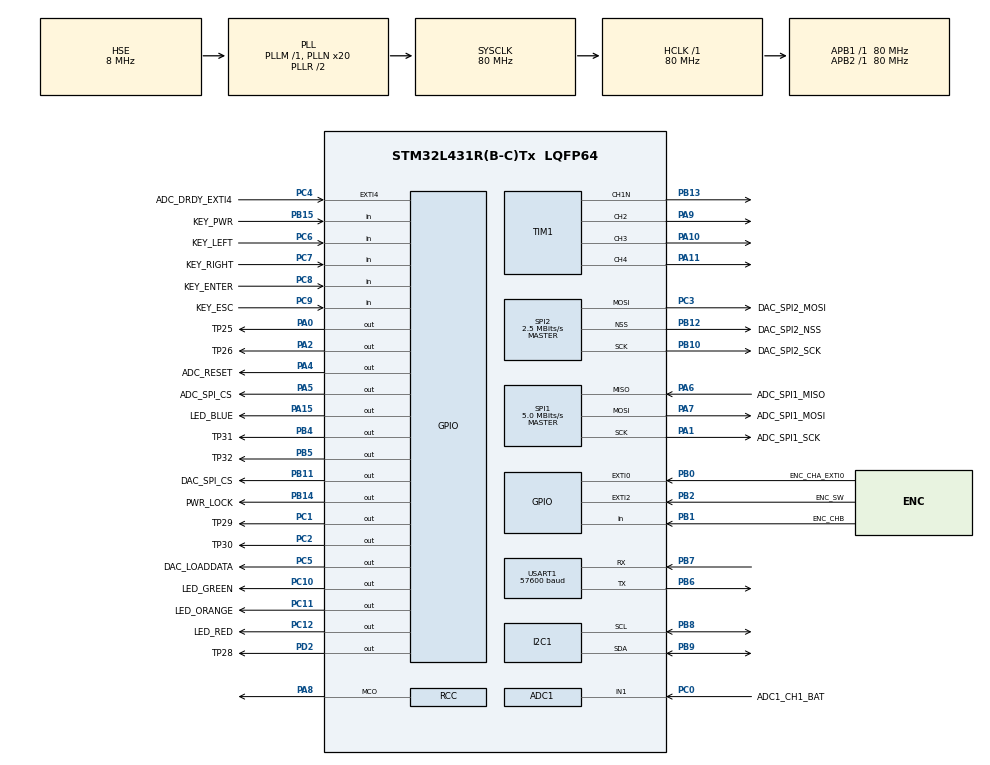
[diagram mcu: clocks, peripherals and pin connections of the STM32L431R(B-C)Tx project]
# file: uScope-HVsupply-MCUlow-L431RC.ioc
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Dma.SPI1_TX.1.Priority=DMA_PRIORITY_LOW
SH.S_TIM1_CH4.0=TIM1_CH4,PWM Generation4 CH4
NVIC.I2C1_EV_IRQn=true\:0\:0\:false\:false\:true\:true\:true
SPI1.VirtualType=VM_MASTER
SPI2.VirtualType=VM_MASTER
PB10.Mode=TX_Only_Simplex_Unidirect_Master
NVIC.TIM6_DAC_IRQn=true\:0\:0\:false\:false\:true\:true\:true
PC12.Signal=GPIO_Output
I2C1.I2C_Rise_Time=50
PB14.GPIO_Label=PWR_LOCK
USART1.WordLength=WORDLENGTH_9B
PC6.GPIO_Label=KEY_LEFT
PA6.GPIO_Label=ADC_SPI1_MISO
PA15\ (JTDI).Signal=GPIO_Output
PC15-OSC32_OUT\ (PC15).Mode=LSE-External-Oscillator
PB13.Signal=TIM1_CH1N
RCC.SYSCLKSource=RCC_SYSCLKSOURCE_PLLCLK
PC14-OSC32_IN\ (PC14).Mode=LSE-External-Oscillator
NVIC.DMA1_Channel3_IRQn=true\:0\:0\:false\:false\:true\:false\:true
PA14\ (JTCK-SWCLK).Signal=SYS_JTCK-SWCLK
NVIC.ADC1_IRQn=true\:0\:0\:false\:false\:true\:true\:true
Dma.SPI1_RX.0.Direction=DMA_PERIPH_TO_MEMORY
SPI1.Direction=SPI_DIRECTION_2LINES
RCC.APB2TimFreq_Value=80000000
PB6.Signal=USART1_TX
PC7.Signal=GPIO_Input
PB6.Mode=Asynchronous
SPI1.CalculateBaudRate=5.0 MBits/s
PC3.Signal=SPI2_MOSI
Dma.SPI1_TX.1.PeriphDataAlignment=DMA_PDATAALIGN_BYTE
PB2.Signal=GPXTI2
PB12.GPIO_Label=DAC_SPI2_NSS
Dma.SPI1_RX.0.PeriphInc=DMA_PINC_DISABLE
PC4.GPIO_Label=ADC_DRDY_EXTI4
Dma.SPI1_TX.1.Mode=DMA_NORMAL
USART1.OverrunDisableParam=ADVFEATURE_OVERRUN_DISABLE
PB1.GPIO_Label=ENC_CHB
SPI1.DataSize=SPI_DATASIZE_8BIT
SPI2.CalculateBaudRate=2.5 MBits/s
PA8.Signal=RCC_MCO
NVIC.I2C1_ER_IRQn=true\:0\:0\:false\:false\:true\:true\:true
VP_TIM1_VS_ClockSourceINT.Mode=Internal
ADC1.SamplingTime-0\#ChannelRegularConversion=ADC_SAMPLETIME_640CYCLES_5
PA0.Signal=GPIO_Output
Mcu.Package=LQFP64
PB9.Signal=I2C1_SDA
PB1.Signal=GPIO_Input
SPI2.Mode=SPI_MODE_MASTER
PA10.Signal=S_TIM1_CH3
NVIC.EXTI2_IRQn=true\:0\:0\:false\:false\:true\:true\:true
RCC.APB1TimFreq_Value=80000000
PB13.Mode=PWM Generation1 CH1N
PA13\ (JTMS-SWDIO).Signal=SYS_JTMS-SWDIO
NVIC.USART1_IRQn=true\:0\:0\:false\:false\:true\:true\:true
PH0-OSC_IN\ (PH0).Mode=HSE-External-Oscillator
PA4.GPIO_Label=ADC_RESET
Dma.SPI1_TX.1.Instance=DMA1_Channel3
RCC.HSI48_VALUE=48000000
NVIC.EXTI4_IRQn=true\:0\:0\:false\:false\:true\:true\:true
PC4.GPIO_ModeDefaultEXTI=GPIO_MODE_IT_FALLING
ADC1.Rank-0\#ChannelRegularConversion=1
I2C1.I2C_Fall_Time=50
ADC1.OffsetNumber-0\#ChannelRegularConversion=ADC_OFFSET_NONE
PC6.Signal=GPIO_Input
PC2.Signal=GPIO_Output
PB11.GPIO_Label=DAC_SPI_CS
SPI1.CLKPhase=SPI_PHASE_2EDGE
PC0.Signal=ADCx_IN1
Dma.SPI1_TX.1.MemDataAlignment=DMA_MDATAALIGN_BYTE
PA9.Signal=S_TIM1_CH2
TIM1.Channel-PWM\ Generation2\ CH2=TIM_CHANNEL_2
I2C1.Timing=0x10B09CE8
PB10.Signal=SPI2_SCK
PB14.Signal=GPIO_Output
PA5.Signal=GPIO_Output
NVIC.SPI1_IRQn=true\:0\:0\:false\:false\:true\:true\:true
PA1.Mode=Full_Duplex_Master
PB15.GPIO_Label=KEY_PWR
SPI1.Mode=SPI_MODE_MASTER
PA1.GPIO_Label=ADC_SPI1_SCK
Dma.SPI1_RX.0.PeriphDataAlignment=DMA_PDATAALIGN_BYTE
PC7.GPIO_Label=KEY_RIGHT
PA4.Signal=GPIO_Output
PB5.Signal=GPIO_Output
ADC1.master=1
PA5.GPIO_Label=ADC_SPI_CS
PC12.GPIO_Label=LED_RED
PA11.Signal=S_TIM1_CH4
ProjectManager.HeapSize=0x200
Dma.SPI1_RX.0.Priority=DMA_PRIORITY_LOW
NVIC.PriorityGroup=NVIC_PRIORITYGROUP_4
PB8.Mode=I2C
PC3.GPIO_Label=DAC_SPI2_MOSI
PA8.Mode=Clock-out
SPI2.DataSize=SPI_DATASIZE_8BIT
PB4\ (NJTRST).GPIO_Label=TP31
TIM1.Channel-PWM\ Generation3\ CH3=TIM_CHANNEL_3
PD2.Signal=GPIO_Output
PB0.Signal=GPXTI0
PC1.Signal=GPIO_Output
PD2.GPIO_Label=TP28
Mcu.Family=STM32L4
PC3.Mode=TX_Only_Simplex_Unidirect_Master
PA6.Mode=Full_Duplex_Master
SPI2.VirtualNSS=VM_NSSHARD
RCC.CortexFreq_Value=80000000
PH0-OSC_IN\ (PH0).Signal=RCC_OSC_IN
USART1.BaudRate=57600
PC10.Signal=GPIO_Output
PA0.GPIO_Label=TP25
Dma.SPI1_TX.1.PeriphInc=DMA_PINC_DISABLE
PC0.GPIO_Label=ADC1_CH1_BAT
PB0.GPIO_Label=ENC_CHA_EXTI0
PB11.Signal=GPIO_Output
PB15.Signal=GPIO_Input
ProjectManager.StackSize=0x400
PB3\ (JTDO-TRACESWO).Signal=SYS_JTDO-SWO
PB2.GPIO_ModeDefaultEXTI=GPIO_MODE_IT_RISING_FALLING
TIM1.Channel-PWM\ Generation4\ CH4=TIM_CHANNEL_4
RCC.HCLKFreq_Value=80000000
RCC.AHBFreq_Value=80000000
SPI2.BaudRatePrescaler=SPI_BAUDRATEPRESCALER_32
ADC1.Channel-0\#ChannelRegularConversion=ADC_CHANNEL_1
PH1-OSC_OUT\ (PH1).Mode=HSE-External-Oscillator
RCC.HSE_VALUE=8000000
RCC.RCC_MCO1Source=RCC_MCO1SOURCE_HSE
PC11.GPIO_Label=LED_ORANGE
PB7.Signal=USART1_RX
TIM1.Channel-PWM\ Generation1\ CH1N=TIM_CHANNEL_1
TIM6.Period=10000
PA6.Signal=SPI1_MISO
PB12.Mode=NSS_Signal_Hard_Output
PA2.GPIO_Label=TP26
SH.ADCx_IN1.0=ADC1_IN1,IN1-Single-Ended
PB5.GPIO_Label=TP32
Dma.Request1=SPI1_TX
SPI2.Direction=SPI_DIRECTION_2LINES
PC5.Signal=GPIO_Output
Dma.Request0=SPI1_RX
SPI1.BaudRatePrescaler=SPI_BAUDRATEPRESCALER_16
PC2.GPIO_Label=TP30
RCC.MSIClockRange=RCC_MSIRANGE_8
RCC.MSI_VALUE=16000000
RCC.PLLSourceVirtual=RCC_PLLSOURCE_HSE
Dma.SPI1_TX.1.MemInc=DMA_MINC_ENABLE
PA7.Mode=Full_Duplex_Master
PC10.GPIO_Label=LED_GREEN
PC9.GPIO_Label=KEY_ESC
USART1.RxPinLevelInvertParam=ADVFEATURE_RXINV_ENABLE
PC11.Signal=GPIO_Output
PC8.Signal=GPIO_Input
TIM6.Prescaler=80
PC4.Signal=GPXTI4
VP_TIM6_VS_ClockSourceINT.Mode=Enable_Timer
PC15-OSC32_OUT\ (PC15).Signal=RCC_OSC32_OUT
Dma.SPI1_RX.0.Mode=DMA_NORMAL
Dma.SPI1_TX.1.Direction=DMA_MEMORY_TO_PERIPH
PH1-OSC_OUT\ (PH1).Signal=RCC_OSC_OUT
PC8.GPIO_Label=KEY_ENTER
USART1.VirtualMode-Asynchronous=VM_ASYNC
NVIC.DMA1_Channel2_IRQn=true\:0\:0\:false\:false\:true\:false\:true
ProjectManager.TargetToolchain=STM32CubeIDE
PB10.GPIO_Label=DAC_SPI2_SCK
PB9.Mode=I2C
USART1.Parity=PARITY_EVEN
PA1.Signal=SPI1_SCK
board=custom
RCC.VCOOutputFreq_Value=160000000
RCC.APB2Freq_Value=80000000
SH.S_TIM1_CH2.0=TIM1_CH2,PWM Generation2 CH2
Dma.SPI1_RX.0.Instance=DMA1_Channel2
RCC.ADCFreq_Value=32000000
PC1.GPIO_Label=TP29
Dma.SPI1_RX.0.MemDataAlignment=DMA_MDATAALIGN_BYTE
PA15\ (JTDI).GPIO_Label=LED_BLUE
Mcu.Name=STM32L431R(B-C)Tx
Dma.SPI1_RX.0.MemInc=DMA_MINC_ENABLE
PA2.Signal=GPIO_Output
NVIC.EXTI0_IRQn=true\:0\:0\:false\:false\:true\:true\:true
RCC.SYSCLKFreq_VALUE=80000000
PA7.GPIO_Label=ADC_SPI1_MOSI
PC5.GPIO_Label=DAC_LOADDATA
PC14-OSC32_IN\ (PC14).Signal=RCC_OSC32_IN
PB7.Mode=Asynchronous
PB2.GPIO_Label=ENC_SW
SH.S_TIM1_CH3.0=TIM1_CH3,PWM Generation3 CH3
RCC.HSI_VALUE=16000000
ADC1.NbrOfConversionFlag=1
RCC.PLLN=20
PB8.Signal=I2C1_SCL
PC9.Signal=GPIO_Input
RCC.APB1Freq_Value=80000000
ADC1.ClockPrescaler=ADC_CLOCK_ASYNC_DIV128
SPI2.TIMode=SPI_TIMODE_ENABLE
PB12.Signal=SPI2_NSS
PA7.Signal=SPI1_MOSI
PB4\ (NJTRST).Signal=GPIO_Output

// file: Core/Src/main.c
/* USER CODE BEGIN Header */
/**
  ******************************************************************************
  * @file           : main.c
  * @brief          : Main program body
  ******************************************************************************
  * @attention
  *
  * <h2><center>&copy; Copyright (c) 2020 STMicroelectronics.
  * All rights reserved.</center></h2>
  *
  * This software component is licensed by ST under BSD 3-Clause license,
  * the "License"; You may not use this file except in compliance with the
  * License. You may obtain a copy of the License at:
  *                        opensource.org/licenses/BSD-3-Clause
  *
  ******************************************************************************
  */
/* USER CODE END Header */
#include "main.h"

/* USER CODE BEGIN Includes */
#include <math.h>
#include "communication.h"
#include "hd44780_i2c.h"
#include "init.h"
#include "regulator.h"
#include "typedefs.h"
#include "ui.h"
#include "utilities.h"
/* USER CODE END Includes */

/* USER CODE BEGIN PM */

/* this write function is used by printf() and puts(). Must provide own implementation
 * https://electronics.stackexchange.com/questions/206113/how-do-i-use-the-printf-function-on-stm32/279945#279945 */
//int _write(int file, char *ptr, int len) {
//	for(int i=0; i<len; i++) {
//		ITM_SendChar((*ptr++));
//	}
//	return len;
//}
//int __io_putchar(int ch) {
//	ITM_SendChar( (char)ch );
//	return ch;
//}
void _putchar(char ch)
{
	ITM_SendChar( ch );
}

/* USER CODE END PM */

ADC_HandleTypeDef hadc1;

I2C_HandleTypeDef hi2c1;

SPI_HandleTypeDef hspi1;
SPI_HandleTypeDef hspi2;
DMA_HandleTypeDef hdma_spi1_rx;
DMA_HandleTypeDef hdma_spi1_tx;

TIM_HandleTypeDef htim1;
TIM_HandleTypeDef htim6;

UART_HandleTypeDef huart1;

/* USER CODE BEGIN PV */

struct sSystem System;

/* USER CODE END PV */

void SystemClock_Config(void);
static void MX_GPIO_Init(void);
static void MX_DMA_Init(void);
static void MX_I2C1_Init(void);
static void MX_SPI1_Init(void);
static void MX_SPI2_Init(void);
static void MX_TIM1_Init(void);
static void MX_USART1_UART_Init(void);
static void MX_ADC1_Init(void);
static void MX_TIM6_Init(void);
/* USER CODE BEGIN PFP */
static inline void power12Von (void)
{
	SPAM(("%s\n", __func__));
	ledOrange(ON);
	HAL_GPIO_WritePinHigh(TP32_GPIO_Port, TP32_Pin);
}

static inline void power12Voff (void)
{
	SPAM(("%s\n", __func__));
	ledOrange(OFF);
	HAL_GPIO_WritePinLow(TP32_GPIO_Port, TP32_Pin);
}
/* USER CODE END PFP */

int main(void)
{
  /* USER CODE BEGIN 1 */

	/* TODO
	 * WiP:
	 * - co by tu zrobic, zeby poprawic metrologicznosc i stabilnosc. Zeby regulatory byly zawsze stabilne.
	 * 		Najpierw bym przyspieszyl ADS i ogarnal przesyl po przerwaniach albo DMA. Wtedy mozna dluzsze filtry MovAvg.
	 * 		Wtedy trzeba by dostroic regulatory. Ale bardziej zautomatyzowac to trzbea. Hm dalo by sie..
	 * 		Ta funkcja osc dobrze mierzy okres, niech tylko jeszcze mierzy amplitude i bedzie mogla wykrywac
	 * 		prog oscylacji i sama wyliczyc wspolczynniki do PID.
	 * 		Odpowiedzi na skok tez trzeba by sprawdzic.
	 *
	 * bugs:
	 * - voltage formating: always preserve place for sign (- for negative and space for positive).
	 * 		Align right, not left. At best, align to the decimal point in fixed place.
	 * - add -5 V independent charge pump
	 *
	 * features:
	 * -
	 * - add buzzer to warn about HV voltage
	 * - save & restore last setted values (flash reading & saving at power on/off)
	 * - on ESC hold in main screen, load default settings and reset settings memory
	 * 		(in case something will get corrupted and settings stuck in pernament error)
	 * - option to set PID regulator coeffs by UI. Or maybe even auto tuning..
	 */

  /* USER CODE END 1 */

  /* MCU Configuration--------------------------------------------------------*/

  /* Reset of all peripherals, Initializes the Flash interface and the Systick. */
  HAL_Init();

  /* Configure the system clock */
  SystemClock_Config();

  /* USER CODE BEGIN SysInit */
#ifdef MCU_HIGH
  SPAM(("MCU_HIGH - Hello world\n"));
#else
  SPAM(("MCU_LOW - Hello world\n"));
#endif
  /* USER CODE END SysInit */

  /* Initialize all configured peripherals */
  MX_GPIO_Init();
  MX_DMA_Init();
  MX_I2C1_Init();
  MX_SPI1_Init();
  MX_SPI2_Init();
  MX_TIM1_Init();
  MX_USART1_UART_Init();
  MX_ADC1_Init();
  MX_TIM6_Init();
  /* USER CODE BEGIN 2 */
  HAL_NVIC_DisableIRQ(EXTI4_IRQn);
  init_user();

  /* USER CODE END 2 */

  /* Infinite loop */
  while (1)
  {

    /* USER CODE BEGIN 3 */
#ifdef MCU_HIGH
	  if (System.ads.error)
	  {
		  InitADC();
	  }
#else
	keyboardRoutine();

	uiScreenUpdate();

	if (System.battVolt < 3.0f)
	{
		System.bLowBatt = true;
		uiScreenChange(SCREEN_LOWBATT);
		HAL_Delay(1000);
		highSideShutdown();
		powerLockOff();
		while(0xDEADBABE);
	}

	if (System.ads.error)
	{
		InitADC();
	}
#endif // MCU_HIGH
  }
  /* USER CODE END 3 */
}

void SystemClock_Config(void)
{
  RCC_OscInitTypeDef RCC_OscInitStruct = {0};
  RCC_ClkInitTypeDef RCC_ClkInitStruct = {0};
  RCC_PeriphCLKInitTypeDef PeriphClkInit = {0};

  /** Initializes the RCC Oscillators according to the specified parameters
  * in the RCC_OscInitTypeDef structure.
  */
  RCC_OscInitStruct.OscillatorType = RCC_OSCILLATORTYPE_HSE;
  RCC_OscInitStruct.HSEState = RCC_HSE_ON;
  RCC_OscInitStruct.PLL.PLLState = RCC_PLL_ON;
  RCC_OscInitStruct.PLL.PLLSource = RCC_PLLSOURCE_HSE;
  RCC_OscInitStruct.PLL.PLLM = 1;
  RCC_OscInitStruct.PLL.PLLN = 20;
  RCC_OscInitStruct.PLL.PLLP = RCC_PLLP_DIV7;
  RCC_OscInitStruct.PLL.PLLQ = RCC_PLLQ_DIV2;
  RCC_OscInitStruct.PLL.PLLR = RCC_PLLR_DIV2;
  if (HAL_RCC_OscConfig(&RCC_OscInitStruct) != HAL_OK)
  {
    Error_Handler();
  }
  /** Initializes the CPU, AHB and APB buses clocks
  */
  RCC_ClkInitStruct.ClockType = RCC_CLOCKTYPE_HCLK|RCC_CLOCKTYPE_SYSCLK
                              |RCC_CLOCKTYPE_PCLK1|RCC_CLOCKTYPE_PCLK2;
  RCC_ClkInitStruct.SYSCLKSource = RCC_SYSCLKSOURCE_PLLCLK;
  RCC_ClkInitStruct.AHBCLKDivider = RCC_SYSCLK_DIV1;
  RCC_ClkInitStruct.APB1CLKDivider = RCC_HCLK_DIV1;
  RCC_ClkInitStruct.APB2CLKDivider = RCC_HCLK_DIV1;

  if (HAL_RCC_ClockConfig(&RCC_ClkInitStruct, FLASH_LATENCY_4) != HAL_OK)
  {
    Error_Handler();
  }
  PeriphClkInit.PeriphClockSelection = RCC_PERIPHCLK_USART1|RCC_PERIPHCLK_I2C1
                              |RCC_PERIPHCLK_ADC;
  PeriphClkInit.Usart1ClockSelection = RCC_USART1CLKSOURCE_PCLK2;
  PeriphClkInit.I2c1ClockSelection = RCC_I2C1CLKSOURCE_PCLK1;
  PeriphClkInit.AdcClockSelection = RCC_ADCCLKSOURCE_PLLSAI1;
  PeriphClkInit.PLLSAI1.PLLSAI1Source = RCC_PLLSOURCE_HSE;
  PeriphClkInit.PLLSAI1.PLLSAI1M = 1;
  PeriphClkInit.PLLSAI1.PLLSAI1N = 8;
  PeriphClkInit.PLLSAI1.PLLSAI1P = RCC_PLLP_DIV7;
  PeriphClkInit.PLLSAI1.PLLSAI1Q = RCC_PLLQ_DIV2;
  PeriphClkInit.PLLSAI1.PLLSAI1R = RCC_PLLR_DIV2;
  PeriphClkInit.PLLSAI1.PLLSAI1ClockOut = RCC_PLLSAI1_ADC1CLK;
  if (HAL_RCCEx_PeriphCLKConfig(&PeriphClkInit) != HAL_OK)
  {
    Error_Handler();
  }
  HAL_RCC_MCOConfig(RCC_MCO1, RCC_MCO1SOURCE_HSE, RCC_MCODIV_1);
  /** Configure the main internal regulator output voltage
  */
  if (HAL_PWREx_ControlVoltageScaling(PWR_REGULATOR_VOLTAGE_SCALE1) != HAL_OK)
  {
    Error_Handler();
  }
}

static void MX_ADC1_Init(void)
{

  ADC_ChannelConfTypeDef sConfig = {0};

  /** Common config
  */
  hadc1.Instance = ADC1;
  hadc1.Init.ClockPrescaler = ADC_CLOCK_ASYNC_DIV128;
  hadc1.Init.Resolution = ADC_RESOLUTION_12B;
  hadc1.Init.DataAlign = ADC_DATAALIGN_RIGHT;
  hadc1.Init.ScanConvMode = ADC_SCAN_DISABLE;
  hadc1.Init.EOCSelection = ADC_EOC_SINGLE_CONV;
  hadc1.Init.LowPowerAutoWait = DISABLE;
  hadc1.Init.ContinuousConvMode = DISABLE;
  hadc1.Init.NbrOfConversion = 1;
  hadc1.Init.DiscontinuousConvMode = DISABLE;
  hadc1.Init.ExternalTrigConv = ADC_SOFTWARE_START;
  hadc1.Init.ExternalTrigConvEdge = ADC_EXTERNALTRIGCONVEDGE_NONE;
  hadc1.Init.DMAContinuousRequests = DISABLE;
  hadc1.Init.Overrun = ADC_OVR_DATA_PRESERVED;
  hadc1.Init.OversamplingMode = DISABLE;
  if (HAL_ADC_Init(&hadc1) != HAL_OK)
  {
    Error_Handler();
  }
  /** Configure Regular Channel
  */
  sConfig.Channel = ADC_CHANNEL_1;
  sConfig.Rank = ADC_REGULAR_RANK_1;
  sConfig.SamplingTime = ADC_SAMPLETIME_640CYCLES_5;
  sConfig.SingleDiff = ADC_SINGLE_ENDED;
  sConfig.OffsetNumber = ADC_OFFSET_NONE;
  sConfig.Offset = 0;
  if (HAL_ADC_ConfigChannel(&hadc1, &sConfig) != HAL_OK)
  {
    Error_Handler();
  }

}

static void MX_I2C1_Init(void)
{

  hi2c1.Instance = I2C1;
  hi2c1.Init.Timing = 0x10B09CE8;
  hi2c1.Init.OwnAddress1 = 0;
  hi2c1.Init.AddressingMode = I2C_ADDRESSINGMODE_7BIT;
  hi2c1.Init.DualAddressMode = I2C_DUALADDRESS_DISABLE;
  hi2c1.Init.OwnAddress2 = 0;
  hi2c1.Init.OwnAddress2Masks = I2C_OA2_NOMASK;
  hi2c1.Init.GeneralCallMode = I2C_GENERALCALL_DISABLE;
  hi2c1.Init.NoStretchMode = I2C_NOSTRETCH_DISABLE;
  if (HAL_I2C_Init(&hi2c1) != HAL_OK)
  {
    Error_Handler();
  }
  /** Configure Analogue filter
  */
  if (HAL_I2CEx_ConfigAnalogFilter(&hi2c1, I2C_ANALOGFILTER_ENABLE) != HAL_OK)
  {
    Error_Handler();
  }
  /** Configure Digital filter
  */
  if (HAL_I2CEx_ConfigDigitalFilter(&hi2c1, 0) != HAL_OK)
  {
    Error_Handler();
  }

}

static void MX_SPI1_Init(void)
{

  /* SPI1 parameter configuration*/
  hspi1.Instance = SPI1;
  hspi1.Init.Mode = SPI_MODE_MASTER;
  hspi1.Init.Direction = SPI_DIRECTION_2LINES;
  hspi1.Init.DataSize = SPI_DATASIZE_8BIT;
  hspi1.Init.CLKPolarity = SPI_POLARITY_LOW;
  hspi1.Init.CLKPhase = SPI_PHASE_2EDGE;
  hspi1.Init.NSS = SPI_NSS_SOFT;
  hspi1.Init.BaudRatePrescaler = SPI_BAUDRATEPRESCALER_16;
  hspi1.Init.FirstBit = SPI_FIRSTBIT_MSB;
  hspi1.Init.TIMode = SPI_TIMODE_DISABLE;
  hspi1.Init.CRCCalculation = SPI_CRCCALCULATION_DISABLE;
  hspi1.Init.CRCPolynomial = 7;
  hspi1.Init.CRCLength = SPI_CRC_LENGTH_DATASIZE;
  hspi1.Init.NSSPMode = SPI_NSS_PULSE_DISABLE;
  if (HAL_SPI_Init(&hspi1) != HAL_OK)
  {
    Error_Handler();
  }

}

static void MX_SPI2_Init(void)
{

  /* SPI2 parameter configuration*/
  hspi2.Instance = SPI2;
  hspi2.Init.Mode = SPI_MODE_MASTER;
  hspi2.Init.Direction = SPI_DIRECTION_2LINES;
  hspi2.Init.DataSize = SPI_DATASIZE_8BIT;
  hspi2.Init.NSS = SPI_NSS_HARD_OUTPUT;
  hspi2.Init.BaudRatePrescaler = SPI_BAUDRATEPRESCALER_32;
  hspi2.Init.TIMode = SPI_TIMODE_ENABLE;
  hspi2.Init.CRCCalculation = SPI_CRCCALCULATION_DISABLE;
  hspi2.Init.CRCPolynomial = 7;
  hspi2.Init.CRCLength = SPI_CRC_LENGTH_DATASIZE;
  hspi2.Init.NSSPMode = SPI_NSS_PULSE_DISABLE;
  if (HAL_SPI_Init(&hspi2) != HAL_OK)
  {
    Error_Handler();
  }

}

static void MX_TIM1_Init(void)
{

  TIM_ClockConfigTypeDef sClockSourceConfig = {0};
  TIM_MasterConfigTypeDef sMasterConfig = {0};
  TIM_OC_InitTypeDef sConfigOC = {0};
  TIM_BreakDeadTimeConfigTypeDef sBreakDeadTimeConfig = {0};

  htim1.Instance = TIM1;
  htim1.Init.Prescaler = 0;
  htim1.Init.CounterMode = TIM_COUNTERMODE_UP;
  htim1.Init.Period = 65535;
  htim1.Init.ClockDivision = TIM_CLOCKDIVISION_DIV1;
  htim1.Init.RepetitionCounter = 0;
  htim1.Init.AutoReloadPreload = TIM_AUTORELOAD_PRELOAD_DISABLE;
  if (HAL_TIM_Base_Init(&htim1) != HAL_OK)
  {
    Error_Handler();
  }
  sClockSourceConfig.ClockSource = TIM_CLOCKSOURCE_INTERNAL;
  if (HAL_TIM_ConfigClockSource(&htim1, &sClockSourceConfig) != HAL_OK)
  {
    Error_Handler();
  }
  if (HAL_TIM_PWM_Init(&htim1) != HAL_OK)
  {
    Error_Handler();
  }
  sMasterConfig.MasterOutputTrigger = TIM_TRGO_RESET;
  sMasterConfig.MasterOutputTrigger2 = TIM_TRGO2_RESET;
  sMasterConfig.MasterSlaveMode = TIM_MASTERSLAVEMODE_DISABLE;
  if (HAL_TIMEx_MasterConfigSynchronization(&htim1, &sMasterConfig) != HAL_OK)
  {
    Error_Handler();
  }
  sConfigOC.OCMode = TIM_OCMODE_PWM1;
  sConfigOC.Pulse = 0;
  sConfigOC.OCPolarity = TIM_OCPOLARITY_HIGH;
  sConfigOC.OCNPolarity = TIM_OCNPOLARITY_HIGH;
  sConfigOC.OCFastMode = TIM_OCFAST_DISABLE;
  sConfigOC.OCIdleState = TIM_OCIDLESTATE_RESET;
  sConfigOC.OCNIdleState = TIM_OCNIDLESTATE_RESET;
  if (HAL_TIM_PWM_ConfigChannel(&htim1, &sConfigOC, TIM_CHANNEL_1) != HAL_OK)
  {
    Error_Handler();
  }
  if (HAL_TIM_PWM_ConfigChannel(&htim1, &sConfigOC, TIM_CHANNEL_2) != HAL_OK)
  {
    Error_Handler();
  }
  if (HAL_TIM_PWM_ConfigChannel(&htim1, &sConfigOC, TIM_CHANNEL_3) != HAL_OK)
  {
    Error_Handler();
  }
  if (HAL_TIM_PWM_ConfigChannel(&htim1, &sConfigOC, TIM_CHANNEL_4) != HAL_OK)
  {
    Error_Handler();
  }
  sBreakDeadTimeConfig.OffStateRunMode = TIM_OSSR_DISABLE;
  sBreakDeadTimeConfig.OffStateIDLEMode = TIM_OSSI_DISABLE;
  sBreakDeadTimeConfig.LockLevel = TIM_LOCKLEVEL_OFF;
  sBreakDeadTimeConfig.DeadTime = 0;
  sBreakDeadTimeConfig.BreakState = TIM_BREAK_DISABLE;
  sBreakDeadTimeConfig.BreakPolarity = TIM_BREAKPOLARITY_HIGH;
  sBreakDeadTimeConfig.BreakFilter = 0;
  sBreakDeadTimeConfig.Break2State = TIM_BREAK2_DISABLE;
  sBreakDeadTimeConfig.Break2Polarity = TIM_BREAK2POLARITY_HIGH;
  sBreakDeadTimeConfig.Break2Filter = 0;
  sBreakDeadTimeConfig.AutomaticOutput = TIM_AUTOMATICOUTPUT_DISABLE;
  if (HAL_TIMEx_ConfigBreakDeadTime(&htim1, &sBreakDeadTimeConfig) != HAL_OK)
  {
    Error_Handler();
  }
  HAL_TIM_MspPostInit(&htim1);

}

static void MX_TIM6_Init(void)
{

  TIM_MasterConfigTypeDef sMasterConfig = {0};

  htim6.Instance = TIM6;
  htim6.Init.Prescaler = 80;
  htim6.Init.CounterMode = TIM_COUNTERMODE_UP;
  htim6.Init.Period = 10000;
  htim6.Init.AutoReloadPreload = TIM_AUTORELOAD_PRELOAD_DISABLE;
  if (HAL_TIM_Base_Init(&htim6) != HAL_OK)
  {
    Error_Handler();
  }
  sMasterConfig.MasterOutputTrigger = TIM_TRGO_RESET;
  sMasterConfig.MasterSlaveMode = TIM_MASTERSLAVEMODE_DISABLE;
  if (HAL_TIMEx_MasterConfigSynchronization(&htim6, &sMasterConfig) != HAL_OK)
  {
    Error_Handler();
  }

}

static void MX_USART1_UART_Init(void)
{

  huart1.Instance = USART1;
  huart1.Init.BaudRate = 57600;
  huart1.Init.WordLength = UART_WORDLENGTH_9B;
  huart1.Init.StopBits = UART_STOPBITS_1;
  huart1.Init.Parity = UART_PARITY_EVEN;
  huart1.Init.Mode = UART_MODE_TX_RX;
  huart1.Init.HwFlowCtl = UART_HWCONTROL_NONE;
  huart1.Init.OverSampling = UART_OVERSAMPLING_16;
  huart1.Init.OneBitSampling = UART_ONE_BIT_SAMPLE_DISABLE;
  huart1.AdvancedInit.AdvFeatureInit = UART_ADVFEATURE_RXINVERT_INIT|UART_ADVFEATURE_RXOVERRUNDISABLE_INIT;
  huart1.AdvancedInit.RxPinLevelInvert = UART_ADVFEATURE_RXINV_ENABLE;
  huart1.AdvancedInit.OverrunDisable = UART_ADVFEATURE_OVERRUN_DISABLE;
  if (HAL_UART_Init(&huart1) != HAL_OK)
  {
    Error_Handler();
  }

}

static void MX_DMA_Init(void)
{

  /* DMA controller clock enable */
  __HAL_RCC_DMA1_CLK_ENABLE();

  /* DMA interrupt init */
  /* DMA1_Channel2_IRQn interrupt configuration */
  HAL_NVIC_SetPriority(DMA1_Channel2_IRQn, 0, 0);
  HAL_NVIC_EnableIRQ(DMA1_Channel2_IRQn);
  /* DMA1_Channel3_IRQn interrupt configuration */
  HAL_NVIC_SetPriority(DMA1_Channel3_IRQn, 0, 0);
  HAL_NVIC_EnableIRQ(DMA1_Channel3_IRQn);

}

static void MX_GPIO_Init(void)
{
  GPIO_InitTypeDef GPIO_InitStruct = {0};

  /* GPIO Ports Clock Enable */
  __HAL_RCC_GPIOC_CLK_ENABLE();
  __HAL_RCC_GPIOH_CLK_ENABLE();
  __HAL_RCC_GPIOA_CLK_ENABLE();
  __HAL_RCC_GPIOB_CLK_ENABLE();
  __HAL_RCC_GPIOD_CLK_ENABLE();

  /*Configure GPIO pin Output Level */
  HAL_GPIO_WritePin(GPIOC, TP29_Pin|TP30_Pin|DAC_LOADDATA_Pin|LED_GREEN_Pin
                          |LED_ORANGE_Pin|LED_RED_Pin, GPIO_PIN_RESET);

  /*Configure GPIO pin Output Level */
  HAL_GPIO_WritePin(GPIOA, TP25_Pin|TP26_Pin|ADC_RESET_Pin|ADC_SPI_CS_Pin
                          |LED_BLUE_Pin, GPIO_PIN_RESET);

  /*Configure GPIO pin Output Level */
  HAL_GPIO_WritePin(GPIOB, DAC_SPI_CS_Pin|PWR_LOCK_Pin|TP31_Pin|TP32_Pin, GPIO_PIN_RESET);

  /*Configure GPIO pin Output Level */
  HAL_GPIO_WritePin(TP28_GPIO_Port, TP28_Pin, GPIO_PIN_RESET);

  /*Configure GPIO pins : TP29_Pin TP30_Pin DAC_LOADDATA_Pin LED_GREEN_Pin
                           LED_ORANGE_Pin LED_RED_Pin */
  GPIO_InitStruct.Pin = TP29_Pin|TP30_Pin|DAC_LOADDATA_Pin|LED_GREEN_Pin
                          |LED_ORANGE_Pin|LED_RED_Pin;
  GPIO_InitStruct.Mode = GPIO_MODE_OUTPUT_PP;
  GPIO_InitStruct.Pull = GPIO_NOPULL;
  GPIO_InitStruct.Speed = GPIO_SPEED_FREQ_LOW;
  HAL_GPIO_Init(GPIOC, &GPIO_InitStruct);

  /*Configure GPIO pins : TP25_Pin TP26_Pin ADC_RESET_Pin ADC_SPI_CS_Pin
                           LED_BLUE_Pin */
  GPIO_InitStruct.Pin = TP25_Pin|TP26_Pin|ADC_RESET_Pin|ADC_SPI_CS_Pin
                          |LED_BLUE_Pin;
  GPIO_InitStruct.Mode = GPIO_MODE_OUTPUT_PP;
  GPIO_InitStruct.Pull = GPIO_NOPULL;
  GPIO_InitStruct.Speed = GPIO_SPEED_FREQ_LOW;
  HAL_GPIO_Init(GPIOA, &GPIO_InitStruct);

  /*Configure GPIO pin : ADC_DRDY_EXTI4_Pin */
  GPIO_InitStruct.Pin = ADC_DRDY_EXTI4_Pin;
  GPIO_InitStruct.Mode = GPIO_MODE_IT_FALLING;
  GPIO_InitStruct.Pull = GPIO_NOPULL;
  HAL_GPIO_Init(ADC_DRDY_EXTI4_GPIO_Port, &GPIO_InitStruct);

  /*Configure GPIO pin : ENC_CHA_EXTI0_Pin */
  GPIO_InitStruct.Pin = ENC_CHA_EXTI0_Pin;
  GPIO_InitStruct.Mode = GPIO_MODE_IT_RISING;
  GPIO_InitStruct.Pull = GPIO_NOPULL;
  HAL_GPIO_Init(ENC_CHA_EXTI0_GPIO_Port, &GPIO_InitStruct);

  /*Configure GPIO pins : ENC_CHB_Pin KEY_PWR_Pin */
  GPIO_InitStruct.Pin = ENC_CHB_Pin|KEY_PWR_Pin;
  GPIO_InitStruct.Mode = GPIO_MODE_INPUT;
  GPIO_InitStruct.Pull = GPIO_NOPULL;
  HAL_GPIO_Init(GPIOB, &GPIO_InitStruct);

  /*Configure GPIO pin : ENC_SW_Pin */
  GPIO_InitStruct.Pin = ENC_SW_Pin;
  GPIO_InitStruct.Mode = GPIO_MODE_IT_RISING_FALLING;
  GPIO_InitStruct.Pull = GPIO_NOPULL;
  HAL_GPIO_Init(ENC_SW_GPIO_Port, &GPIO_InitStruct);

  /*Configure GPIO pins : DAC_SPI_CS_Pin PWR_LOCK_Pin TP31_Pin TP32_Pin */
  GPIO_InitStruct.Pin = DAC_SPI_CS_Pin|PWR_LOCK_Pin|TP31_Pin|TP32_Pin;
  GPIO_InitStruct.Mode = GPIO_MODE_OUTPUT_PP;
  GPIO_InitStruct.Pull = GPIO_NOPULL;
  GPIO_InitStruct.Speed = GPIO_SPEED_FREQ_LOW;
  HAL_GPIO_Init(GPIOB, &GPIO_InitStruct);

  /*Configure GPIO pins : KEY_LEFT_Pin KEY_RIGHT_Pin KEY_ENTER_Pin KEY_ESC_Pin */
  GPIO_InitStruct.Pin = KEY_LEFT_Pin|KEY_RIGHT_Pin|KEY_ENTER_Pin|KEY_ESC_Pin;
  GPIO_InitStruct.Mode = GPIO_MODE_INPUT;
  GPIO_InitStruct.Pull = GPIO_NOPULL;
  HAL_GPIO_Init(GPIOC, &GPIO_InitStruct);

  /*Configure GPIO pin : PA8 */
  GPIO_InitStruct.Pin = GPIO_PIN_8;
  GPIO_InitStruct.Mode = GPIO_MODE_AF_PP;
  GPIO_InitStruct.Pull = GPIO_NOPULL;
  GPIO_InitStruct.Speed = GPIO_SPEED_FREQ_LOW;
  GPIO_InitStruct.Alternate = GPIO_AF0_MCO;
  HAL_GPIO_Init(GPIOA, &GPIO_InitStruct);

  /*Configure GPIO pin : TP28_Pin */
  GPIO_InitStruct.Pin = TP28_Pin;
  GPIO_InitStruct.Mode = GPIO_MODE_OUTPUT_PP;
  GPIO_InitStruct.Pull = GPIO_NOPULL;
  GPIO_InitStruct.Speed = GPIO_SPEED_FREQ_LOW;
  HAL_GPIO_Init(TP28_GPIO_Port, &GPIO_InitStruct);

  /* EXTI interrupt init*/
  HAL_NVIC_SetPriority(EXTI0_IRQn, 0, 0);
  HAL_NVIC_EnableIRQ(EXTI0_IRQn);

  HAL_NVIC_SetPriority(EXTI2_IRQn, 0, 0);
  HAL_NVIC_EnableIRQ(EXTI2_IRQn);

  HAL_NVIC_SetPriority(EXTI4_IRQn, 0, 0);
  HAL_NVIC_EnableIRQ(EXTI4_IRQn);

}

/* USER CODE BEGIN 4 */

void highSideStart(void)
{
	System.bHighSidePowered = true;
	power12Von();
#ifdef CUSTOM_RX
	uartCustomRxInit();
#else
	uartReceiveFrameIT();
#endif
	regulatorInit();
	regulatorInitCurrent();
}

/*
 * Don't use in interrupts because of hard delay.
 */
void highSideShutdown(void)
{
	const uint32_t timeout = 5000;

	regulatorDeInit();

	uint32_t uTimestamp = HAL_GetTick();
	while (HAL_GetTick() - uTimestamp < timeout)
	{
		bool exit = true;
		if (fabsf(System.meas.fCathodeVolt) > 100.0f)
			exit = false;
		if (fabsf(System.meas.fExtractVolt) > 100.0f)
			exit = false;
		if (fabsf(System.meas.fFocusVolt) > 100.0f)
			exit = false;
		if (fabsf(System.meas.fPumpVolt) > 100.0f)
			exit = false;

		if (exit)
			break;
	}
	System.bHighSidePowered = false;
	power12Voff();
	HAL_UART_AbortReceive_IT(&huart1);	// returns always HAL_OK
	CLEAR_BIT(USART1->CR1, USART_CR1_UE);		// uart disable
	System.bCommunicationOk = false;
	// reset values from uart
	System.meas.fExtractVolt = NAN;
	System.meas.fFocusVolt = NAN;

	ledRed(OFF);
	ledGreen(OFF);
	SPAM(("Discharge time: %u ms\n", (HAL_GetTick() - uTimestamp) ));
}

/* USER CODE END 4 */

void Error_Handler(void)
{
}

/************************ (C) COPYRIGHT STMicroelectronics *****END OF FILE****/
